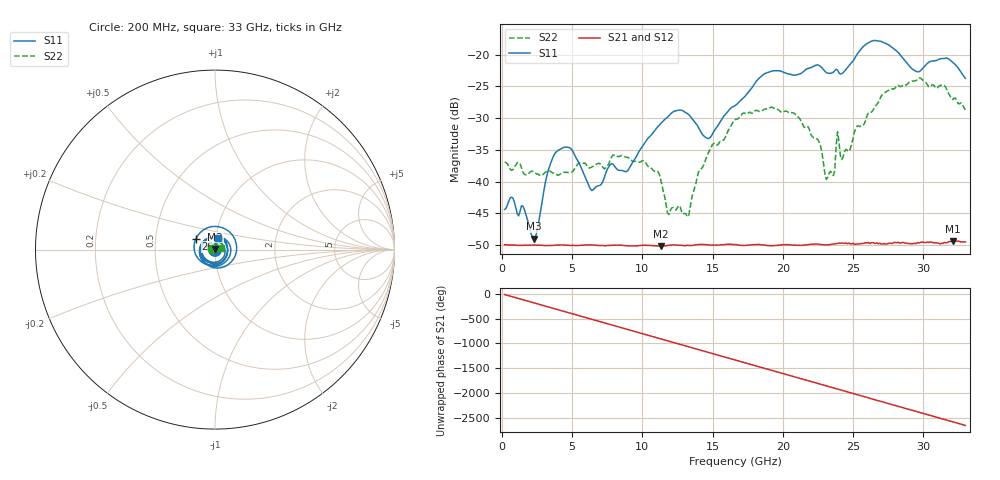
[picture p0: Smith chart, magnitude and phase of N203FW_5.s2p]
# GHZ S RI R 50
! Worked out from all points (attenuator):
!   329 points, 200 MHz to 33 GHz, reference 50 ohm
!   highest |S21| = -49.37 dB at 32.1 GHz (marker M1); lowest = -50.2 dB at 11.3 GHz (marker M2)
!   lowest |S11| = -49.0 dB at 2.3 GHz (marker M3), VSWR 1.01, Z = 50.2 + j0.315 ohm
!   |S11| at or under -10 dB: start of sweep to end of sweep
!   |S22| runs from -45.5 to -23.7 dB; largest |S21 - S12| = 8.8e-05
!   S11 on the Smith chart (normalised r, x): 200 MHz: 1.01, -0.00; 26 GHz: 0.80, +0.10; 33 GHz: 1.03, +0.13
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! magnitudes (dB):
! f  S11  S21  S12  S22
! 200 MHz  -44.4  -50.0  -49.9  -36.9
! 1.5 GHz  -43.8  -50.0  -50.0  -38.5
! 2.3 GHz  -49.0  -50.0  -50.0  -38.5
! 3.8 GHz  -35.5  -50.0  -50.0  -38.7
! 5.7 GHz  -38.1  -50.0  -50.0  -37.2
! 6.4 GHz  -41.4  -50.0  -50.0  -37.7
! 8.9 GHz  -38.4  -50.1  -50.1  -36.2
! 11.2 GHz  -31.1  -50.2  -50.1  -38.8
! 11.3 GHz  -30.9  -50.2  -50.1  -39.6
! 11.8 GHz  -29.8  -50.1  -50.0  -45.0
! 13.3 GHz  -29.4  -50.1  -50.1  -45.4
! 14.7 GHz  -33.2  -50.0  -49.9  -35.5
! 16.6 GHz  -28.0  -49.9  -49.9  -30.2
! 22.1 GHz  -21.9  -49.8  -49.8  -32.9
! 23.1 GHz  -22.8  -49.9  -49.9  -39.7
! 23.7 GHz  -22.5  -49.8  -49.8  -38.3
! 23.9 GHz  -22.4  -49.7  -49.8  -32.2
! 24.2 GHz  -23.0  -49.7  -49.6  -36.5
! 26 GHz  -18.2  -49.7  -49.6  -29.6
! 27.6 GHz  -18.5  -49.7  -49.7  -25.5
! 32.1 GHz  -21.2  -49.4  -49.3  -27.1
! 33 GHz  -23.7  -49.5  -49.6  -28.7
